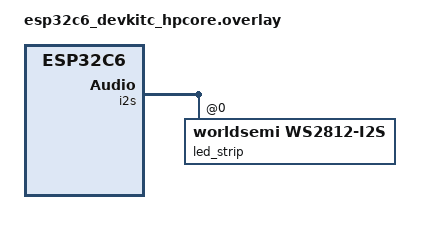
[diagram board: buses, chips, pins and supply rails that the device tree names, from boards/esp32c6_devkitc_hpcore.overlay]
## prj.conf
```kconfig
CONFIG_LOG=y
CONFIG_MAIN_STACK_SIZE=4096
CONFIG_CBPRINTF_FP_SUPPORT=y

# Networking over 802.15.4 (Interface Capability)
CONFIG_NETWORKING=y
CONFIG_NET_L2_OPENTHREAD=y
CONFIG_NET_UDP=y
# Without this every board in the room auto-joins the same default network on
# channel 11 at boot.
CONFIG_OPENTHREAD_MANUAL_START=y
CONFIG_OPENTHREAD_PING_SENDER=y
# Lab 5: build a global address from the prefix a Border Router advertises.
CONFIG_OPENTHREAD_SLAAC=y
# The 0 dBm default barely reaches past a few centimetres on these boards.
CONFIG_OPENTHREAD_DEFAULT_TX_POWER=20

# Settings backend for the Thread dataset
CONFIG_NVS=y

# OpenThread CLI as "ot <command>", including the "ot coap" client
CONFIG_SHELL=y
CONFIG_NET_SHELL=y
CONFIG_OPENTHREAD_SHELL=y
CONFIG_OPENTHREAD_COAP=y
CONFIG_OPENTHREAD_COAP_OBSERVE=y
# "ot dataset set active <hex>" is ~240 characters; the defaults truncate a paste.
CONFIG_SHELL_CMD_BUFF_SIZE=512
CONFIG_SHELL_BACKEND_SERIAL_RX_RING_BUFFER_SIZE=512
CONFIG_OPENTHREAD_MAC_FILTER=y

# CoAP server: /env/temp and /act/valve on UDP 5683
CONFIG_COAP=y
CONFIG_COAP_SERVER=y
CONFIG_COAP_SERVICE_OBSERVERS=4

# CBOR payloads; canonical = definite-length maps (A1, not BF ... FF)
CONFIG_ZCBOR=y
CONFIG_ZCBOR_CANONICAL=y

# Sensor drivers; the overlay in sensors/ picks the one that is built
CONFIG_SENSOR=y
CONFIG_I2C=y
CONFIG_W1=y

# RGB LED: Thread role, or white while the valve is open
CONFIG_LED_STRIP=y

# Keep the established C/S workflow and readable transcripts.
CONFIG_OPENTHREAD_FTD=y
CONFIG_SHELL_VT100_COLORS=n
```

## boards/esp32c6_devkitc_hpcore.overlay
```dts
/*
 * Copyright (c) 2025 Espressif Systems (Shanghai) Co., Ltd.
 *
 * SPDX-License-Identifier: Apache-2.0
 */

#include <mem.h>
#include <zephyr/dt-bindings/led/led.h>

/ {
	aliases {
		led-strip = &led_strip;
	};
};

&i2s_default {
	group1 {
		pinmux = <I2S_O_SD_GPIO8>;
	};
};

i2s_led: &i2s {
	status = "okay";

	dmas = <&dma 3>;
	dma-names = "tx";

	led_strip: ws2812@0 {
		compatible = "worldsemi,ws2812-i2s";

		reg = <0>;
		chain-length = <1>;
		color-mapping = <LED_COLOR_ID_GREEN
				 LED_COLOR_ID_RED
				 LED_COLOR_ID_BLUE>;
		reset-delay = <500>;
	};
};

&dma {
	status = "okay";
};

/* The actual boards used in these labs include 4 MB parts. Use the first 4 MB
 * on both 4 MB and 8 MB boards. Zephyr's default partition map fits in 4 MB.
 */
&flash0 {
	reg = <0x0 DT_SIZE_M(4)>;
	ranges = <0x0 0x0 DT_SIZE_M(4)>;
};
```

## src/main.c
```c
#include <zephyr/kernel.h>
#include <zephyr/logging/log.h>
#include <zephyr/drivers/led_strip.h>
#include <zephyr/net/coap_service.h>
#include <openthread.h>
#include <openthread/thread.h>

#include "app.h"

LOG_MODULE_REGISTER(lab4_sensors, LOG_LEVEL_INF);

static uint16_t coap_port = 5683;

/* Starts at boot on every board. On the board where you run "ot coap start",
 * OpenThread binds port 5683 itself and keeps the traffic, so that board acts
 * as the client and this server stays silent.
 */
COAP_SERVICE_DEFINE(soilsense, NULL, &coap_port, COAP_SERVICE_AUTOSTART);

static const struct device *const strip = DEVICE_DT_GET(DT_ALIAS(led_strip));

/* Thread role → LED colour, indexed by otDeviceRole */
static const struct led_rgb role_colors[] = {
	[OT_DEVICE_ROLE_DISABLED] = { .r = 0x00, .g = 0x00, .b = 0x00 },
	[OT_DEVICE_ROLE_DETACHED] = { .r = 0x20, .g = 0x00, .b = 0x00 },
	[OT_DEVICE_ROLE_CHILD]    = { .r = 0x20, .g = 0x18, .b = 0x00 },
	[OT_DEVICE_ROLE_ROUTER]   = { .r = 0x00, .g = 0x20, .b = 0x00 },
	[OT_DEVICE_ROLE_LEADER]   = { .r = 0x00, .g = 0x00, .b = 0x20 },
};
static const struct led_rgb valve_open_color = { .r = 0x30, .g = 0x30, .b = 0x30 };

static atomic_t role = ATOMIC_INIT(OT_DEVICE_ROLE_DISABLED);
static atomic_t valve_open;
static bool strip_ready;

/* The OpenThread callback runs with the stack locked; drive the LED from the system workqueue */
static void led_work_handler(struct k_work *work)
{
	if (!strip_ready) {
		return;
	}

	struct led_rgb pixel = atomic_get(&valve_open) ? valve_open_color
						       : role_colors[atomic_get(&role)];

	if (led_strip_update_rgb(strip, &pixel, 1) != 0) {
		LOG_ERR("Failed to drive LED");
	}
}

static K_WORK_DEFINE(led_work, led_work_handler);

void led_show_valve(bool open)
{
	atomic_set(&valve_open, open);
	k_work_submit(&led_work);
}

static void ot_state_changed(otChangedFlags flags, void *user_data)
{
	if (!(flags & OT_CHANGED_THREAD_ROLE)) {
		return;
	}

	otDeviceRole r = otThreadGetDeviceRole(openthread_get_default_instance());

	LOG_INF("Thread role: %s", otThreadDeviceRoleToString(r));
	atomic_set(&role, r);
	k_work_submit(&led_work);
}

static struct openthread_state_changed_callback ot_state_cb = {
	.otCallback = ot_state_changed,
};

int response_init(struct coap_packet *rsp, uint8_t *buf, size_t size,
		  const struct coap_packet *req, uint8_t code)
{
	uint8_t token[COAP_TOKEN_MAX_LEN];
	uint8_t tkl = coap_header_get_token(req, token);
	bool con = coap_header_get_type(req) == COAP_TYPE_CON;

	return coap_packet_init(rsp, buf, size, COAP_VERSION_1,
				con ? COAP_TYPE_ACK : COAP_TYPE_NON_CON, tkl, token, code,
				con ? coap_header_get_id(req) : coap_next_id());
}

const char *peer_str(const struct net_sockaddr *addr, char *buf, size_t size)
{
	return net_addr_ntop(NET_AF_INET6, &net_sin6(addr)->sin6_addr, buf, size);
}

int main(void)
{
	strip_ready = device_is_ready(strip);
	if (!strip_ready) {
		LOG_ERR("LED strip device not ready");
	} else {
		k_work_submit(&led_work);
	}

	openthread_state_changed_callback_register(&ot_state_cb);
	LOG_INF("C/S: run ot coap start only on C, never on S.");
	LOG_INF("SoilSense node ready: CoAP /env/temp (%s) and /act/valve on UDP %u. "
		"OpenThread commands start with \"ot\".", reading_sensor_name(), coap_port);

	return 0;
}
```

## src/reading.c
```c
/* The sensor side of /env/temp. A thread reads the sensor every SAMPLE_MS,
 * rejects values that can't be real, and keeps the last good reading plus the
 * counters printed by "soilsense stats". The sensor is whatever the devicetree
 * alias temp-sensor points at (an overlay from sensors/); without one, the
 * Lab 3 simulation runs instead.
 */
#include <math.h>
#include <stdlib.h>
#include <zephyr/kernel.h>
#include <zephyr/device.h>
#include <zephyr/drivers/sensor.h>
#include <zephyr/logging/log.h>
#include <zephyr/random/random.h>
#include <zephyr/shell/shell.h>

#include "app.h"

LOG_MODULE_REGISTER(reading, LOG_LEVEL_INF);

#define SAMPLE_MS     2000
#define T_MIN_C       (-40.0f)
#define T_MAX_C       85.0f   /* exclusive: a DS18B20 reports exactly 85.0 at power-on */
#define MAX_STEP_C    5.0f    /* between two samples; no air or soil warms that fast */
#define STEP_CHECK_MS 10000   /* the step check only applies against a recent value */
#define LOST_AFTER    3       /* consecutive failed reads before the sensor counts as lost */

#if DT_HAS_ALIAS(temp_sensor)
static const struct device *const sensor = DEVICE_DT_GET(DT_ALIAS(temp_sensor));
#endif

static struct k_spinlock lock;
static struct reading last;
static float last_rh = NAN;
static bool log_samples;

static struct {
	uint32_t reads;
	uint32_t failed;
	uint32_t rejected;
	uint32_t in_a_row;
	uint32_t read_us_min;
	uint32_t read_us_max;
	uint64_t read_us_sum;
	int64_t since_ms;
} stats;

struct reading reading_get(void)
{
	struct reading r;

	K_SPINLOCK(&lock) {
		r = last;
	}

	return r;
}

const char *reading_sensor_name(void)
{
#if DT_HAS_ALIAS(temp_sensor)
	return sensor->name;
#else
	return "simulated";
#endif
}

/* Why t can't be a real reading, or NULL if it is plausible */
static const char *implausible(float t, int64_t now, char *buf, size_t size)
{
	if (t < T_MIN_C || t >= T_MAX_C) {
		snprintk(buf, size, "outside %.0f..%.0f C", (double)T_MIN_C, (double)T_MAX_C);
		return buf;
	}
	if (last.valid && now - last.at_ms < STEP_CHECK_MS && fabsf(t - last.t) > MAX_STEP_C) {
		snprintk(buf, size, "jumped %+.1f C in one sample", (double)(t - last.t));
		return buf;
	}

	return NULL;
}

static void check_and_store(float t, float rh, const char *source)
{
	int64_t now = k_uptime_get();
	char buf[40];
	const char *why;

	K_SPINLOCK(&lock) {
		why = implausible(t, now, buf, sizeof(buf));
		if (why == NULL) {
			last.valid = true;
			last.t = t;
			last.at_ms = now;
			last.seq++;
		} else {
			stats.rejected++;
		}
	}

	if (why != NULL) {
		LOG_WRN("Rejected %.2f C from %s: %s", (double)t, source, why);
	} else if (log_samples && !isnan(rh)) {
		LOG_INF("%s: %.2f C, %.1f %%RH", source, (double)t, (double)rh);
	} else if (log_samples) {
		LOG_INF("%s: %.2f C", source, (double)t);
	}
}

#if DT_HAS_ALIAS(temp_sensor)
static void read_sensor(void)
{
	struct sensor_value v, h;
	float rh = NAN;
	uint32_t c0, us, in_a_row = 0;
	int rc;

	c0 = k_cycle_get_32();
	rc = device_is_ready(sensor) ? sensor_sample_fetch(sensor) : -ENODEV;
	us = k_cyc_to_us_floor32(k_cycle_get_32() - c0);
	if (rc == 0) {
		rc = sensor_channel_get(sensor, SENSOR_CHAN_AMBIENT_TEMP, &v);
	}
	if (rc == 0 && sensor_channel_get(sensor, SENSOR_CHAN_HUMIDITY, &h) == 0) {
		rh = sensor_value_to_float(&h);
	}

	K_SPINLOCK(&lock) {
		stats.reads++;
		stats.read_us_sum += us;
		stats.read_us_min = MIN(stats.read_us_min, us);
		stats.read_us_max = MAX(stats.read_us_max, us);
		if (rc < 0) {
			stats.failed++;
			in_a_row = ++stats.in_a_row;
		} else {
			in_a_row = stats.in_a_row;
			stats.in_a_row = 0;
			last_rh = rh;
		}
	}

	if (rc < 0) {
		if (rc == -ENODEV && in_a_row == 1) {
			LOG_ERR("%s was not found at boot; fix the wiring, then reset the board",
				sensor->name);
		} else if (in_a_row < LOST_AFTER) {
			LOG_WRN("Read failed (%d) after %u us", rc, us);
		} else if (in_a_row == LOST_AFTER) {
			LOG_ERR("Sensor lost: %u failed reads in a row; retrying every %d s",
				in_a_row, SAMPLE_MS / MSEC_PER_SEC);
		}
		return;
	}

	if (in_a_row >= LOST_AFTER) {
		LOG_INF("Sensor back after %u failed reads", in_a_row);
	}
	check_and_store(sensor_value_to_float(&v), rh, sensor->name);
}
#else
/* Lab 3's simulated sensor: 24.5 °C ± 1 °C over 60 s, plus ±0.1 °C noise */
static void read_sensor(void)
{
	float noise = ((int32_t)(sys_rand32_get() % 201) - 100) / 1000.0f;
	float phase = (float)(k_uptime_get() % 60000) / 60000.0f;

	K_SPINLOCK(&lock) {
		stats.reads++;
	}
	check_and_store(24.5f + sinf(2.0f * 3.14159265f * phase) + noise, NAN, "simulated");
}
#endif

static void reset_stats(void)
{
	K_SPINLOCK(&lock) {
		memset(&stats, 0, sizeof(stats));
		stats.read_us_min = UINT32_MAX;
		stats.since_ms = k_uptime_get();
	}
}

static void sampler(void *p1, void *p2, void *p3)
{
	int64_t next = k_uptime_get();

	reset_stats();
	LOG_INF("Reading %s every %d s", reading_sensor_name(), SAMPLE_MS / MSEC_PER_SEC);

	while (true) {
		read_sensor();
		next += SAMPLE_MS;
		k_sleep(K_TIMEOUT_ABS_MS(next));
	}
}

/* Below the OpenThread thread (8): the radio may interrupt a sensor read */
K_THREAD_DEFINE(sampler_tid, 2048, sampler, NULL, NULL, NULL, 10, 0, 0);

static int cmd_stats(const struct shell *sh, size_t argc, char **argv)
{
	struct reading r;
	float rh;
	typeof(stats) s;
	int64_t now = k_uptime_get();

	K_SPINLOCK(&lock) {
		r = last;
		rh = last_rh;
		s = stats;
	}

	shell_print(sh, "sensor:    %s", reading_sensor_name());
	if (r.valid) {
		shell_print(sh, "last good: %.2f C, %lld s ago", (double)r.t,
			    (now - r.at_ms) / MSEC_PER_SEC);
	} else {
		shell_print(sh, "last good: none yet");
	}
	if (!isnan(rh)) {
		shell_print(sh, "humidity:  %.1f %%RH", (double)rh);
	}
	shell_print(sh, "reads:     %u in %lld s: %u failed (%.1f %%), %u rejected", s.reads,
		    (now - s.since_ms) / MSEC_PER_SEC, s.failed,
		    s.reads ? 100.0 * s.failed / s.reads : 0.0, s.rejected);
	if (s.reads > 0 && s.read_us_max > 0) {
		shell_print(sh, "read time: min %u us, avg %llu us, max %u us", s.read_us_min,
			    s.read_us_sum / s.reads, s.read_us_max);
	}
	if (s.in_a_row > 0) {
		shell_print(sh, "now:       %u failed reads in a row", s.in_a_row);
	}

	return 0;
}

static int cmd_reset(const struct shell *sh, size_t argc, char **argv)
{
	reset_stats();
	shell_print(sh, "Counters zeroed");
	return 0;
}

static int cmd_log(const struct shell *sh, size_t argc, char **argv)
{
	if (strcmp(argv[1], "on") == 0) {
		log_samples = true;
	} else if (strcmp(argv[1], "off") == 0) {
		log_samples = false;
	} else {
		shell_error(sh, "Usage: soilsense log on|off");
		return -EINVAL;
	}

	return 0;
}

static int cmd_inject(const struct shell *sh, size_t argc, char **argv)
{
	char *end;
	float t = strtof(argv[1], &end);

	if (end == argv[1] || *end != '\0') {
		shell_error(sh, "Usage: soilsense inject <degrees C>");
		return -EINVAL;
	}

	check_and_store(t, NAN, "inject");
	return 0;
}

SHELL_STATIC_SUBCMD_SET_CREATE(soilsense_cmds,
	SHELL_CMD_ARG(stats, NULL, "Last reading, failure counts and read time", cmd_stats, 1, 0),
	SHELL_CMD_ARG(reset, NULL, "Zero the counters", cmd_reset, 1, 0),
	SHELL_CMD_ARG(log, NULL, "Print every reading: log on|off", cmd_log, 2, 0),
	SHELL_CMD_ARG(inject, NULL, "Pass one made-up reading through the checks: inject <C>",
		      cmd_inject, 2, 0),
	SHELL_SUBCMD_SET_END);

SHELL_CMD_REGISTER(soilsense, &soilsense_cmds, "SoilSense sensor tools", NULL);
```
